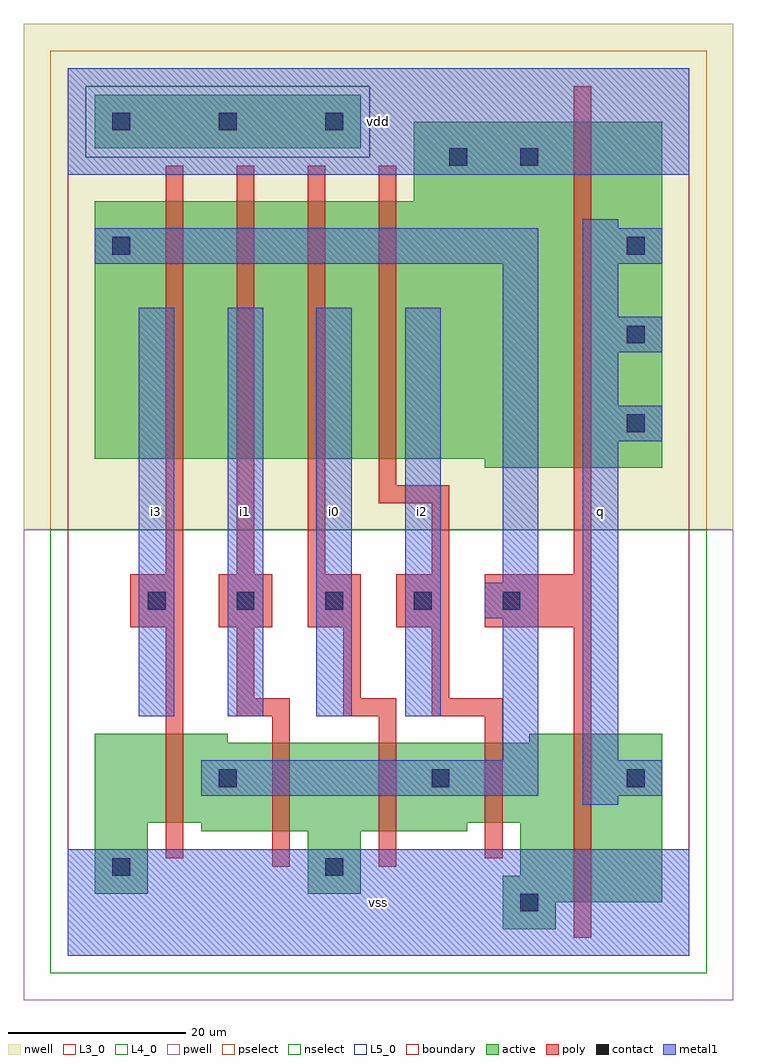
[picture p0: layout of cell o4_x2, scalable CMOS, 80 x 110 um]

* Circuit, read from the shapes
.subckt o4_x2 i0 i1 i2 i3 q vdd vss
M1 n1 i3 vss VSUBS nfet w=10u l=2u
M2 vss i1 n1 VSUBS nfet w=10u l=2u
M3 n1 i0 vss VSUBS nfet w=10u l=2u
M4 vss i2 n1 VSUBS nfet w=9u l=2u
M5 q n1 vss VSUBS nfet w=19u l=2u
M6 n2 i3 n1 vdd pfet w=29u l=2u
M7 n3 i1 n2 vdd pfet w=29u l=2u
M8 n4 i0 n3 vdd pfet w=29u l=2u
M9 vdd i2 n4 vdd pfet w=29u l=2u
M10 q n1 vdd vdd pfet w=39u l=2u
.ends

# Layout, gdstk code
import gdstk
lib = gdstk.Library(unit=1e-6, precision=1e-09)
def R(c, l, rs):  # rectangles x0, y0, x1, y1
    for r in rs: c.add(gdstk.rectangle(r[:2], r[2:], *l))
def A(c, l, x, y, w, h, nx, ny, dx, dy):  # array of equal rectangles
    R(c, l, [(x+i*dx, y+j*dy, x+i*dx+w, y+j*dy+h) for i in range(nx) for j in range(ny)])
L3_0 = (3, 0)
L4_0 = (4, 0)
L5_0 = (5, 0)
contact = (25, 0)
pwell = (41, 0)
nwell = (42, 0)
active = (43, 0)
pselect = (44, 0)
nselect = (45, 0)
poly = (46, 0)
metal1 = (49, 0)
boundary = (63, 0)

o4_x2 = lib.new_cell('o4_x2')
R(o4_x2, L3_0, [(49,3,55,6), (49,6,67,9), (3,7,9,15), (27,7,33,14), (51,9,67,15), (15,14,45,15), (3,15,67,24), (3,24,18,25), (52,24,67,25)])
R(o4_x2, L4_0, [(47,55,67,56), (3,56,67,85), (39,85,67,94)])
R(o4_x2, L5_0, [(3,91,33,97)])
A(o4_x2, contact, 9, 39, 2, 2, 5, 1, 10, 0)
A(o4_x2, contact, 63, 59, 2, 2, 1, 3, 0, 10)
A(o4_x2, contact, 5, 93, 2, 2, 3, 1, 12, 0)
R(o4_x2, contact, [(51,5,53,7), (5,9,7,11), (29,9,31,11), (17,19,19,21), (41,19,43,21), (63,19,65,21), (5,79,7,81), (43,89,45,91), (51,89,53,91)])
R(o4_x2, pwell, [(-5,-5,75,48)])
R(o4_x2, nwell, [(-5,48,75,105)])
R(o4_x2, active, [(49,3,55,6), (49,6,67,9), (3,7,9,15), (27,7,33,14), (51,9,67,15), (15,14,45,15), (3,15,67,24), (3,24,18,25), (52,24,67,25), (47,55,67,56), (3,56,67,85), (39,85,67,94), (3,91,33,97)])
R(o4_x2, pselect, [(-2,48,72,90), (-2,90,2,98), (34,90,72,98), (-2,98,72,102)])
R(o4_x2, nselect, [(-2,-2,72,48), (2,90,34,98)])
A(o4_x2, poly, 7, 37, 6, 6, 4, 1, 10, 0)
A(o4_x2, poly, 11, 43, 2, 46, 3, 1, 8, 0)
R(o4_x2, poly, [(57,2,59,37), (23,10,25,27), (35,10,37,27), (11,11,13,37), (47,11,49,27), (19,27,25,29), (31,27,37,29), (41,27,49,29), (19,29,21,37), (31,29,33,37), (41,29,43,37), (47,37,59,43), (41,43,43,51), (57,43,59,98), (35,51,43,53), (35,53,37,89)])
A(o4_x2, metal1, 8, 27, 4, 46, 4, 1, 10, 0)
A(o4_x2, metal1, 58, 58, 9, 4, 1, 3, 0, 10)
R(o4_x2, metal1, [(0,0,70,12), (58,17,62,18), (15,18,53,22), (58,18,67,22), (49,22,53,38), (58,22,62,58), (47,38,53,42), (49,42,53,78), (58,62,62,68), (58,72,62,78), (3,78,53,82), (58,82,62,83), (0,88,70,100)])
R(o4_x2, boundary, [(0,0,70,100)])
o4_x2.add(gdstk.Label('i3', (10,50), layer=49, texttype=0))
o4_x2.add(gdstk.Label('i0', (30,50), layer=49, texttype=0))
o4_x2.add(gdstk.Label('i1', (20,50), layer=49, texttype=0))
o4_x2.add(gdstk.Label('vss', (35,6), layer=49, texttype=0))
o4_x2.add(gdstk.Label('i2', (40,50), layer=49, texttype=0))
o4_x2.add(gdstk.Label('vdd', (35,94), layer=49, texttype=0))
o4_x2.add(gdstk.Label('q', (60,50), layer=49, texttype=0))

lib.write_gds('o4_x2.gds')
